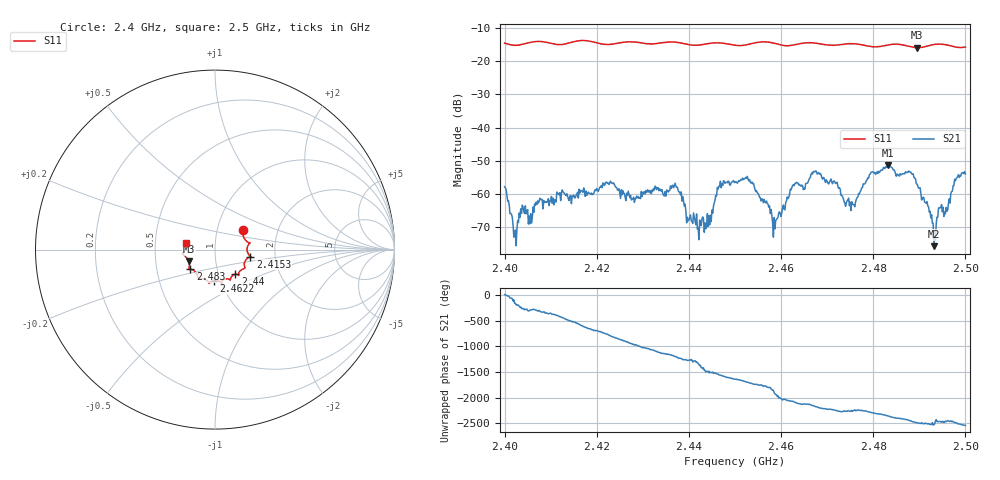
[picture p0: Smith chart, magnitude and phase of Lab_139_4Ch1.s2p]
# Hz S RI R 50
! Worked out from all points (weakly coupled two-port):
!   601 points, 2.4 GHz to 2.5 GHz, reference 50 ohm
!   highest |S21| = -51.42 dB at 2.4832 GHz (marker M1); lowest = -75.8 dB at 2.4932 GHz (marker M2)
!   lowest |S11| = -15.9 dB at 2.4895 GHz (marker M3), VSWR 1.38, Z = 36.9 - j5.01 ohm
!   |S11| at or under -10 dB: start of sweep to end of sweep
!   S12 and S22 are empty: the file has one direction only
!   S11 on the Smith chart (normalised r, x): 2.4 GHz: 1.33, +0.29; 2.4153 GHz: 1.48, -0.12; 2.44 GHz: 1.20, -0.34; 2.4622 GHz: 0.93, -0.33; 2.483 GHz: 0.74, -0.17; 2.5 GHz: 0.72, +0.06
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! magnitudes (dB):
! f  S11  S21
! 2.4 GHz  -14.5  -57.9
! 2.4023 GHz  -15.2  -70.9
! 2.404 GHz  -14.8  -63.9
! 2.4153 GHz  -14.0  -61.2
! 2.4167 GHz  -13.7  -59.1
! 2.4333 GHz  -14.6  -58.2
! 2.4373 GHz  -14.2  -58.0
! 2.44 GHz  -15.0  -67.7
! 2.4438 GHz  -14.7  -69.7
! 2.4467 GHz  -14.4  -57.8
! 2.45 GHz  -15.1  -56.6
! 2.4532 GHz  -14.8  -55.7
! 2.4587 GHz  -14.6  -70.6
! 2.4622 GHz  -15.2  -58.8
! 2.4667 GHz  -14.4  -53.7
! 2.4757 GHz  -14.7  -63.2
! 2.483 GHz  -15.1  -52.0
! 2.4832 GHz  -15.1  -51.4
! 2.4833 GHz  -15.0  -51.7
! 2.4895 GHz  -15.9  -57.1
! 2.4932 GHz  -14.9  -75.8
! 2.5 GHz  -15.7  -54.0
